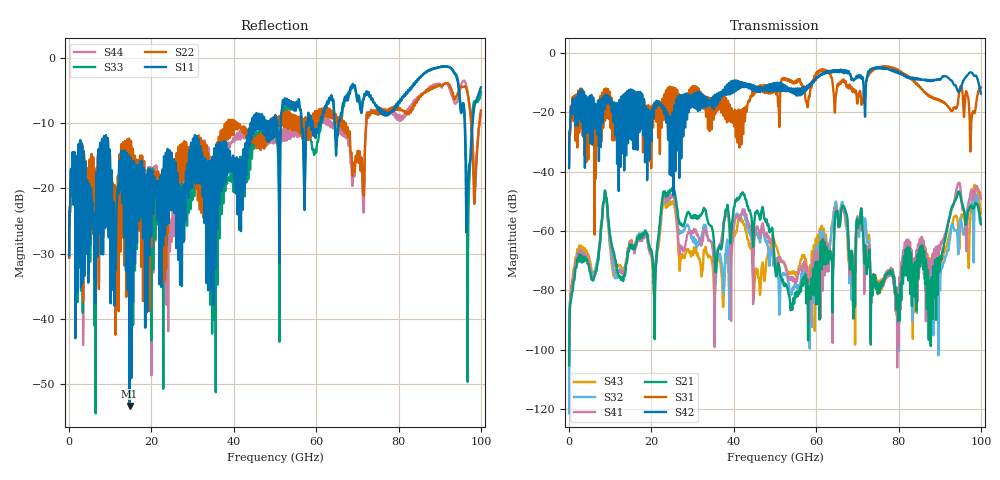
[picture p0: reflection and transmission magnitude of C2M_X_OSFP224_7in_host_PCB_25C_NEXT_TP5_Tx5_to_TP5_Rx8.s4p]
# GHz S RI R 45
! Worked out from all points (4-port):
!   4000 points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, 25 MHz to 100 GHz, reference 45 ohm
!   strongest paths, dB at 25 MHz, 25.02 GHz, 50.02 GHz, 75.03 GHz, 100 GHz:
!     S42: -38.8, -23.8, -10.3, -5.1, -13.7
!     S31: -38.3, -14.7, -11.4, -4.9, -11.6
!     S21: -105.2, -45.7, -72.1, -79.0, -57.7
!     S41: -104.2, -47.9, -72.2, -78.5, -49.3
!     S32: -121.3, -47.9, -69.8, -78.8, -56.3
!     S43: -101.7, -50.1, -64.2, -81.2, -54.0
!   lowest |S11| = -53.3 dB at 14.7 GHz (marker M1), VSWR 1.00, Z = 45.2 + j0.0644 ohm
!   |S11| at or under -10 dB: start of sweep to 44.11 GHz; 59.15 GHz to 61.04 GHz (1.886 GHz wide, 3.14 % of centre); 96.08 GHz to 98 GHz (1.927 GHz wide, 1.99 % of centre) (the widest 3 of 23)
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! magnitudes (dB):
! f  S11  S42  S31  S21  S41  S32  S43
! 25 MHz  -30.3  -38.8  -38.3  -105.2  -104.2  -121.3  -101.7
! 14.7 GHz  -53.3  -17.0  -20.9  -65.1  -64.2  -65.0  -63.7
! 42.15 GHz  -23.0  -10.9  -20.5  -47.0  -52.7  -53.3  -56.5
! 54.02 GHz  -7.4  -12.1  -9.9  -84.8  -76.5  -81.4  -73.8
! 66.35 GHz  -7.8  -6.0  -9.6  -51.7  -52.8  -50.3  -51.7
! 79.65 GHz  -7.3  -6.3  -5.8  -83.1  -91.9  -85.6  -84.3
! 100 GHz  -4.6  -13.7  -11.6  -57.7  -49.3  -56.3  -54.0
